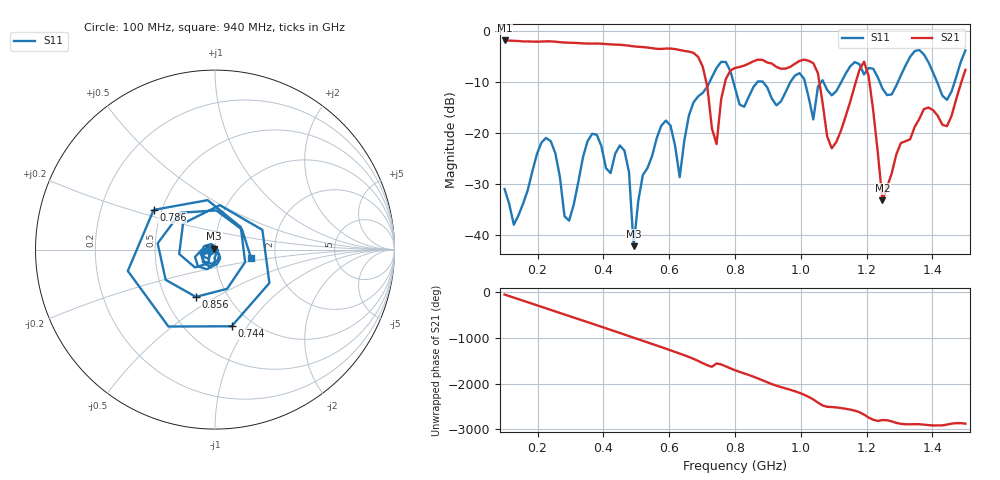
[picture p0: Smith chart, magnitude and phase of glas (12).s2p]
! NanoVNA-App
! Date: 2025-09-25 15:55:34
! Start: 100MHz Stop: 1,5GHz Points: 101
! S-Parameter data: F S11 S21 S12 S22
# Hz S RI R 50
!  Frequency  S11_Real  S11_Imag  S21_Real  S21_Imag  S12_Real  S12_Imag  S22_Real  S22_Imag
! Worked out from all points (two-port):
!   101 points, 100 MHz to 1.5 GHz, reference 50 ohm
!   highest |S21| = -1.80 dB at 100 MHz (marker M1); lowest = -33.2 dB at 1.248 GHz (marker M2)
!   |S21| within 3 dB of the highest: start of sweep to 684.1 MHz
!   lowest |S11| = -42.2 dB at 492 MHz (marker M3), VSWR 1.02, Z = 49.5 + j0.567 ohm
!   |S11| at or under -10 dB: start of sweep to 722.5 MHz; 795.3 MHz to 867.9 MHz (72.53 MHz wide, 8.72 % of centre); 885.7 MHz to 967.9 MHz (82.24 MHz wide, 8.87 % of centre) (the widest 3 of 7)
!   S12 and S22 are empty: the file has one direction only
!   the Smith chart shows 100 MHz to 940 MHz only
!   S11 on the Smith chart (normalised r, x): 100 MHz: 0.95, -0.01; 744 MHz: 0.80, -0.85; 786 MHz: 0.45, +0.24; 856 MHz: 0.71, -0.41; 940 MHz: 1.49, -0.14
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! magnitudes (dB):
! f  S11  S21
! 100 MHz  -31.0  -1.8
! 128 MHz  -38.0  -1.9
! 226 MHz  -20.9  -2.0
! 296 MHz  -37.2  -2.2
! 338 MHz  -24.7  -2.4
! 464 MHz  -23.4  -2.7
! 492 MHz  -42.2  -3.0
! 576 MHz  -18.5  -3.5
! 632 MHz  -28.6  -3.7
! 702 MHz  -12.1  -7.0
! 744 MHz  -7.2  -22.1
! 786 MHz  -7.8  -7.7
! 800 MHz  -11.1  -7.2
! 856 MHz  -10.9  -5.9
! 940 MHz  -13.7  -7.4
! 996 MHz  -8.2  -5.8
! 1.038 GHz  -17.3  -6.3
! 1.094 GHz  -12.6  -23.0
! 1.192 GHz  -8.5  -6.0
! 1.248 GHz  -11.2  -33.2
! 1.276 GHz  -12.4  -27.9
! 1.5 GHz  -3.8  -7.6
